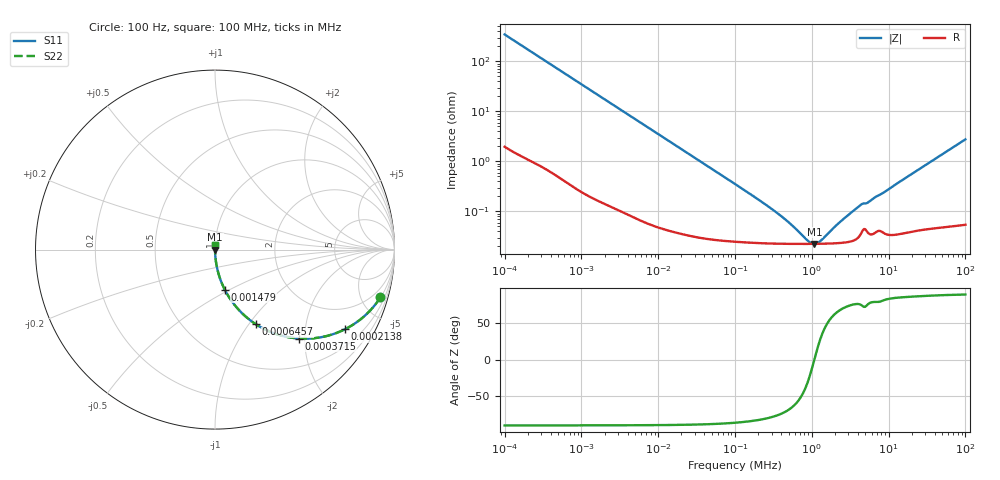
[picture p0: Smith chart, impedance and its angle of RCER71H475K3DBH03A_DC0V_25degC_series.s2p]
!Murata Part Number: RCER71H475K3DBH03A
!These Parameters are Measured in Series Mode Connection
!  o--ll--o
!Port1  Port2
!  o------o
!Operation Temp=25[degC], DC Bias Voltage=0[V]
!Freq. Start=100[Hz] Stop=100[MHz], 401[Steps]
!Data Generated on Feb 18, 2020
# Hz S RI R 50
!Freq.(Hz) S11(Real) S11(Imag) S21(Real) S21(Imag) S12(Real) S12(Imag) S22(Real) S22(Imag)
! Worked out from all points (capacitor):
!   401 points, 100 Hz to 100 MHz, reference 50 ohm
!   read as one part in series: C = 4.6 uF near 107.2 Hz
!   lowest |Z| = 22.5 mohm at 1.084 MHz (marker M1)
!   series resonance near 1.079 MHz, so ESL is about 4.7 nH
!   S11 on the Smith chart (normalised r, x): 100 Hz: 1.04, -6.91; 213.8 Hz: 1.02, -3.24; 371.5 Hz: 1.01, -1.87; 645.7 Hz: 1.01, -1.08; 1.479 kHz: 1.00, -0.47; 100 MHz: 1.00, +0.06
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100  0.9214 -0.2663  0.0786 0.2663  0.0786 0.2663  0.9214 -0.2663
146.2177  0.8468 -0.3572  0.1532 0.3572  0.1532 0.3572  0.8468 -0.3572
213.7962  0.7227 -0.4445  0.2773 0.4445  0.2773 0.4445  0.7227 -0.4445
281.8383  0.6014 -0.4862  0.3986 0.4862  0.3986 0.4862  0.6014 -0.4862
371.5352  0.4663 -0.4954  0.5337 0.4954  0.5337 0.4954  0.4663 -0.4954
645.6542  0.2268 -0.4153  0.7732 0.4153  0.7732 0.4153  0.2268 -0.4153
1011.579  0.1079 -0.3067  0.8921 0.3067  0.8921 0.3067  0.1079 -0.3067
1479.108  0.0542 -0.2228  0.9458 0.2228  0.9458 0.2228  0.0542 -0.2228
3507.519  0.0108 -0.0987  0.9892 0.0987  0.9892 0.0987  0.0108 -0.0987
10232.93  0.00165 -0.0343  0.9983 0.0343  0.9983 0.0343  0.00165 -0.0343
100000  0.00026 -0.00353  0.9997 0.00353  0.9997 0.00353  0.00026 -0.00353
371535.2  0.000227 -0.00085  0.9998 0.00085  0.9998 0.00085  0.000227 -0.00085
543250.3  0.000225 -0.000493  0.9998 0.000493  0.9998 0.000493  0.000225 -0.000493
881048.9  0.000224 -0.000136  0.9998 0.000136  0.9998 0.000136  0.000224 -0.000136
1011579  0.000224 -4.28e-05  0.9998 4.28e-05  0.9998 4.28e-05  0.000224 -4.28e-05
1083927  0.000225 3.26e-06  0.9998 -3.26e-06  0.9998 -3.26e-06  0.000225 3.26e-06
1333521  0.000226 0.000142  0.9998 -0.000142  0.9998 -0.000142  0.000226 0.000142
2238721  0.000233 0.000534  0.9998 -0.000534  0.9998 -0.000534  0.000233 0.000534
4168694  0.000322 0.00125  0.9997 -0.00125  0.9997 -0.00125  0.000322 0.00125
5495409  0.000365 0.0015  0.9996 -0.0015  0.9996 -0.0015  0.000365 0.0015
1.023293e7  0.000346 0.00283  0.9997 -0.00283  0.9997 -0.00283  0.000346 0.00283
1e8  0.0013 0.0276  0.9987 -0.0276  0.9987 -0.0276  0.0013 0.0276
